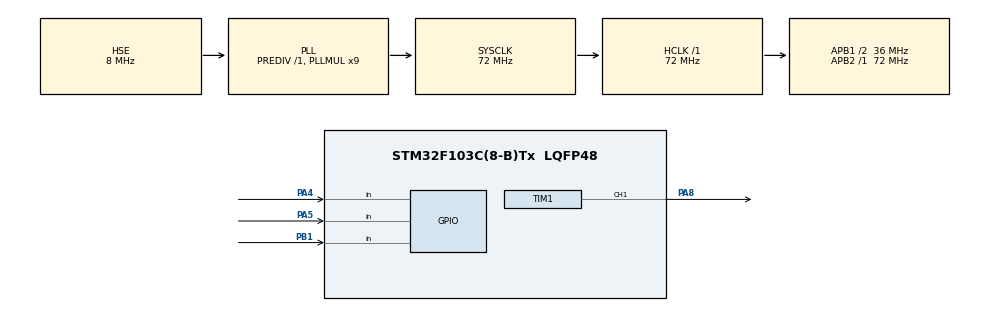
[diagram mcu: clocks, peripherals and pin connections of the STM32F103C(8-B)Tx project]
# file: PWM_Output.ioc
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Mcu.Family=STM32F1
Mcu.Name=STM32F103C(8-B)Tx
Mcu.Package=LQFP48
NVIC.PriorityGroup=NVIC_PRIORITYGROUP_4
PA4.GPIO_PuPd=GPIO_PULLUP
PA4.Signal=GPIO_Input
PA5.GPIO_PuPd=GPIO_PULLUP
PA5.Signal=GPIO_Input
PA8.Signal=S_TIM1_CH1
PB1.GPIO_PuPd=GPIO_PULLUP
PB1.Signal=GPIO_Input
PD0-OSC_IN.Mode=HSE-External-Oscillator
PD0-OSC_IN.Signal=RCC_OSC_IN
PD1-OSC_OUT.Mode=HSE-External-Oscillator
PD1-OSC_OUT.Signal=RCC_OSC_OUT
ProjectManager.HeapSize=0x200
ProjectManager.StackSize=0x400
ProjectManager.TargetToolchain=MDK-ARM V5.32
RCC.AHBFreq_Value=72000000
RCC.APB1CLKDivider=RCC_HCLK_DIV2
RCC.APB1Freq_Value=36000000
RCC.APB1TimFreq_Value=72000000
RCC.APB2Freq_Value=72000000
RCC.APB2TimFreq_Value=72000000
RCC.HCLKFreq_Value=72000000
RCC.PLLMUL=RCC_PLL_MUL9
RCC.PLLSourceVirtual=RCC_PLLSOURCE_HSE
RCC.SYSCLKFreq_VALUE=72000000
RCC.SYSCLKSource=RCC_SYSCLKSOURCE_PLLCLK
RCC.USBFreq_Value=72000000
SH.S_TIM1_CH1.0=TIM1_CH1,Forced Output1 CH1
TIM1.AutoReloadPreload=TIM_AUTORELOAD_PRELOAD_ENABLE
TIM1.Channel-Forced\ Output1\ CH1=TIM_CHANNEL_1
TIM1.Period=1000
TIM1.Prescaler=72-1
TIM1.Pulse-Forced\ Output1\ CH1=500
TIM2.Period=100-1
TIM2.Prescaler=72-1
VP_SYS_VS_ND.Mode=No_Debug
VP_TIM1_VS_ClockSourceINT.Mode=Internal
VP_TIM2_VS_ClockSourceINT.Mode=Internal
board=custom

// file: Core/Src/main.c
/* USER CODE BEGIN Header */
/**
  ******************************************************************************
  * @file           : main.c
  * @brief          : Main program body
  ******************************************************************************
  * @attention
  *
  * Copyright (c) 2024 STMicroelectronics.
  * All rights reserved.
  *
  * This software is licensed under terms that can be found in the LICENSE file
  * in the root directory of this software component.
  * If no LICENSE file comes with this software, it is provided AS-IS.
  *
  ******************************************************************************
  */
/* USER CODE END Header */
#include "main.h"
#include "tim.h"
#include "gpio.h"

/* USER CODE BEGIN PV */

// 使用软件生成正弦向量表——SPWM
// SPWM 中值 = Pulse ( 对比值) /2
// SPWM 幅值 = Pulse ( 对比值) /2
// 周内点数影响频率与正弦波精细度。周内点数越大，频率越小、正弦波精细度越高
uint16_t sin_value[] = {
  500,531,562,593,624,654,684,712,740,767,793,818,842,864,885,904,
  922,938,952,964,975,984,991,996,999,1000,999,996,991,984,975,964,
  952,938,922,904,885,864,842,818,793,767,740,712,684,654,624,593,
  562,531,500,468,437,406,375,345,315,287,259,232,206,181,157,135,
  114,95,77,61,47,35,24,15,8,3,0,0,0,3,8,15,
  24,35,47,61,77,95,114,135,157,181,206,232,259,287,315,345,
  375,406,437,468
};

int size = 100;

/* USER CODE END PV */

void SystemClock_Config(void);

int main(void)
{

  /* USER CODE BEGIN 1 */
//  int pwm = 0;
  /* USER CODE END 1 */

  /* MCU Configuration--------------------------------------------------------*/

  /* Reset of all peripherals, Initializes the Flash interface and the Systick. */
  HAL_Init();

  /* Configure the system clock */
  SystemClock_Config();

  /* Initialize all configured peripherals */
  MX_GPIO_Init();
  MX_TIM1_Init();
  MX_TIM2_Init();
  /* USER CODE BEGIN 2 */

  // 使能TIM1的通道1，开启PWM输出
  HAL_TIM_PWM_Start(&htim1, TIM_CHANNEL_1);

  // 使能TIM2定时器中断
  HAL_TIM_Base_Start_IT(&htim2);

//  HAL_GPIO_WritePin(GPIOA, GPIO_PIN_4, GPIO_PIN_SET);
//  HAL_GPIO_WritePin(GPIOA, GPIO_PIN_5, GPIO_PIN_RESET);

  /* USER CODE END 2 */

  /* Infinite loop */
  /* USER CODE BEGIN WHILE */
  while (1)
  {
    // PWM
//    if (HAL_GPIO_ReadPin(GPIOB, GPIO_PIN_1) == GPIO_PIN_SET)
//    {
//      HAL_Delay(20);
//      while(HAL_GPIO_ReadPin(GPIOB, GPIO_PIN_1) == GPIO_PIN_SET);
//      HAL_Delay(20);
//
//      pwm += 200;
//      pwm = (pwm > 999) ? 0 : pwm;
//      __HAL_TIM_SET_COMPARE(&htim1, TIM_CHANNEL_1, pwm);
//    }

    /* USER CODE END WHILE */

  }
}

void SystemClock_Config(void)
{
  RCC_OscInitTypeDef RCC_OscInitStruct = {0};
  RCC_ClkInitTypeDef RCC_ClkInitStruct = {0};

  /** Initializes the RCC Oscillators according to the specified parameters
  * in the RCC_OscInitTypeDef structure.
  */
  RCC_OscInitStruct.OscillatorType = RCC_OSCILLATORTYPE_HSE;
  RCC_OscInitStruct.HSEState = RCC_HSE_ON;
  RCC_OscInitStruct.HSEPredivValue = RCC_HSE_PREDIV_DIV1;
  RCC_OscInitStruct.HSIState = RCC_HSI_ON;
  RCC_OscInitStruct.PLL.PLLState = RCC_PLL_ON;
  RCC_OscInitStruct.PLL.PLLSource = RCC_PLLSOURCE_HSE;
  RCC_OscInitStruct.PLL.PLLMUL = RCC_PLL_MUL9;
  if (HAL_RCC_OscConfig(&RCC_OscInitStruct) != HAL_OK)
  {
    Error_Handler();
  }

  /** Initializes the CPU, AHB and APB buses clocks
  */
  RCC_ClkInitStruct.ClockType = RCC_CLOCKTYPE_HCLK|RCC_CLOCKTYPE_SYSCLK
                              |RCC_CLOCKTYPE_PCLK1|RCC_CLOCKTYPE_PCLK2;
  RCC_ClkInitStruct.SYSCLKSource = RCC_SYSCLKSOURCE_PLLCLK;
  RCC_ClkInitStruct.AHBCLKDivider = RCC_SYSCLK_DIV1;
  RCC_ClkInitStruct.APB1CLKDivider = RCC_HCLK_DIV2;
  RCC_ClkInitStruct.APB2CLKDivider = RCC_HCLK_DIV1;

  if (HAL_RCC_ClockConfig(&RCC_ClkInitStruct, FLASH_LATENCY_2) != HAL_OK)
  {
    Error_Handler();
  }
}

/* USER CODE BEGIN 4 */

/**
  * @brief 定时器中断的回调函数
  * @param htim 触发中断的定时器
  * @retval None
  */
void HAL_TIM_PeriodElapsedCallback(TIM_HandleTypeDef *htim){
  static int i = 0;
  if(++i == size)i = 0;
  if (htim->Instance == htim2.Instance){
    __HAL_TIM_SET_COMPARE(&htim1, TIM_CHANNEL_1, sin_value[i]); //由向量表修改占空比
  }
}

/* USER CODE END 4 */

void Error_Handler(void)
{
  __disable_irq();
  while (1)
  {
  }
}
